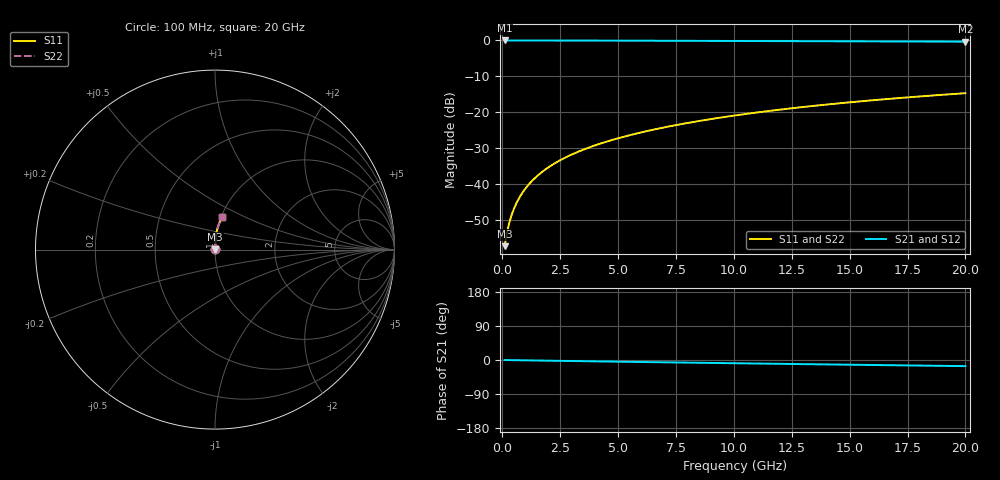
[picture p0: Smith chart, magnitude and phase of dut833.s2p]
! Touchstone file exported from HFSS 2024.1.0
!  File:  C:/UserFiles/LocalFiles/RDL_TSV_Batchsim/temp_RDL_top_833_1779855032.aedt
!  Generated:  12:12:36 PM May 27, 2026
!  Design:  RDL_top
!  Project:  temp_RDL_top_833_1779855032
!  Setup:  Setup1
!  Solution:  Sweep
! Variables:
!  dtsv = 10.80580581um
!  hbump = 3um
!  htsv = 77.64um
!  ldown = 100um
!  lrdl = 198.56um
!  p = 40
!  p1 = 47.31um
!  rhole = 1um
!  t = 450um
!  tdown = 3.915915916um
!  trdl = 4.45um
!  wdown = 15.38538539um
!  wrdl = 18.55um
# GHz S MA R 50.000000
! Terminal data exported
! Port[1] = Box2_T1
! Port[2] = Box2_T2
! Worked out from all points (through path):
!   200 points, 100 MHz to 20 GHz, reference 50 ohm
!   highest |S21| = -0.01 dB at 100 MHz (marker M1); lowest = -0.3 dB at 20 GHz (marker M2)
!   group delay of S21, straight-line fit = 2.23 ps
!   lowest |S11| = -57.3 dB at 100 MHz (marker M3), VSWR 1.00, Z = 50.1 + j0.0912 ohm
!   |S11| at or under -10 dB: start of sweep to end of sweep
!   |S22| runs from -57.3 to -14.7 dB; largest |S21 - S12| = 3.3e-15
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0.1  0.001357 42.1  0.999 -0.1  0.999 -0.1  0.001357 42.1
! Gamma 0 0 0 0
! Port Impedance 50 0 50 0
0.2  0.002077 59.6  0.9989 -0.2  0.9989 -0.2  0.002077 59.6
0.3  0.002865 67.6  0.9989 -0.3  0.9989 -0.3  0.002865 67.6
0.4  0.00367 72.2  0.9988 -0.4  0.9988 -0.4  0.00367 72.2
0.5  0.004484 75.3  0.9988 -0.5  0.9988 -0.5  0.004484 75.3
0.6  0.005306 77.4  0.9987 -0.6  0.9987 -0.6  0.005306 77.4
0.8  0.006964 80.3  0.9986 -0.7  0.9986 -0.7  0.006964 80.3
1.1  0.009477 82.7  0.9985 -1.0  0.9985 -1.0  0.009477 82.7
1.5  0.01286 84.5  0.9982 -1.4  0.9982 -1.4  0.01286 84.5
1.8  0.0154 85.3  0.998 -1.6  0.998 -1.6  0.0154 85.3
2.1  0.01796 85.9  0.9977 -1.9  0.9977 -1.9  0.01796 85.9
2.7  0.02311 86.7  0.997 -2.5  0.997 -2.5  0.02311 86.7
3.5  0.03004 87.2  0.9958 -3.2  0.9958 -3.2  0.03004 87.2
4.2  0.03617 87.4  0.9947 -3.8  0.9947 -3.8  0.03617 87.4
5  0.04327 87.5  0.9933 -4.5  0.9933 -4.5  0.04327 87.5
5.9  0.05137 87.4  0.9915 -5.2  0.9915 -5.2  0.05137 87.4
6.8  0.05959 87.1  0.9897 -6.0  0.9897 -6.0  0.05959 87.1
8.4  0.07446 86.5  0.9863 -7.3  0.9863 -7.3  0.07446 86.5
10.1  0.09052 85.5  0.9827 -8.6  0.9827 -8.6  0.09052 85.5
13.4  0.122 83.1  0.9755 -11.2  0.9755 -11.2  0.122 83.1
16.7  0.1533 80.4  0.9682 -13.7  0.9682 -13.7  0.1533 80.4
20  0.184 77.7  0.9606 -16.2  0.9606 -16.2  0.184 77.7
